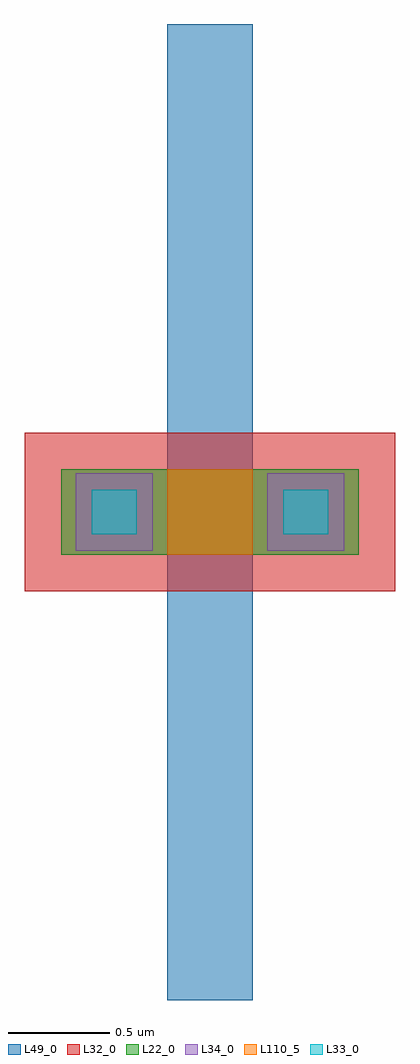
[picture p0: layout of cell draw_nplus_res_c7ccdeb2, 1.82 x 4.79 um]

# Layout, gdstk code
import gdstk
lib = gdstk.Library(unit=1e-6, precision=1e-09)
def R(c, l, rs):  # rectangles x0, y0, x1, y1
    for r in rs: c.add(gdstk.rectangle(r[:2], r[2:], *l))
L22_0 = (22, 0)
L32_0 = (32, 0)
L33_0 = (33, 0)
L34_0 = (34, 0)
L49_0 = (49, 0)
L110_5 = (110, 5)

draw_nplus_res_c7ccdeb2 = lib.new_cell('draw_nplus_res_c7ccdeb2')
R(draw_nplus_res_c7ccdeb2, L22_0, [(-0.52,0,0.94,0.42)])
R(draw_nplus_res_c7ccdeb2, L32_0, [(-0.7,-0.18,1.12,0.6)])
R(draw_nplus_res_c7ccdeb2, L33_0, [(-0.37,0.1,-0.15,0.32), (0.57,0.1,0.79,0.32)])
R(draw_nplus_res_c7ccdeb2, L34_0, [(-0.45,0.02,-0.07,0.4), (0.49,0.02,0.87,0.4)])
R(draw_nplus_res_c7ccdeb2, L49_0, [(0,-2.185,0.42,2.605)])
R(draw_nplus_res_c7ccdeb2, L110_5, [(0,0,0.42,0.42)])

lib.write_gds('draw_nplus_res_c7ccdeb2.gds')
